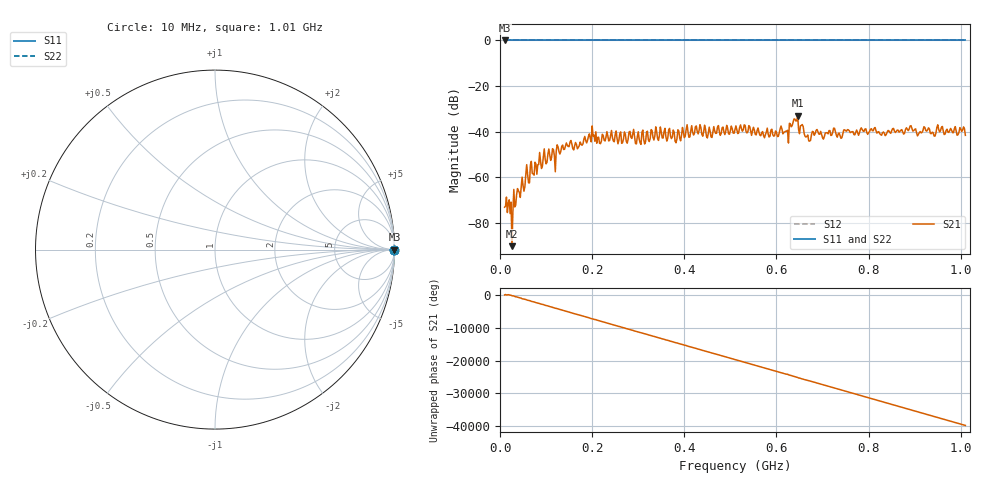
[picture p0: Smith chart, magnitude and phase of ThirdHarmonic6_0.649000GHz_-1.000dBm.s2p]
! 8/15/2025 9:32:01 PM
! C:\ANRITSUVNA\TEMP\TEMP.S2P
! CHANNEL.1
! TR.MEASUREMENT
! RAW.DATA
! RF.CORRECTION.OFF
! AVERAGING.OFF
! IF.BANDWIDTH: 5KHZ
! SWEEPTYPE:  FREQ.SWEEP(Linear)
! Reference Plane Port Info
! PORT:  PORT1  PORT2
! DISTANCE:  0  m  0  m
! TIME:  0  s  0  s
! PHASE.OFFSET:  0  deg.  0  deg.
! LOSS:  0  dB  0  dB
! REF.LOSS:  0  dB  0  dB
! REF.FREQ:  0  Hz  0  Hz
! Power Info
! POWER:  -20  dBm  -20  dBm
! EFF.POWER:  -20  dBm  -20  dBm
! SOURCE.ATTEN:  0  dB  0  dB
! TEST.ATTEN:  0  dB  0  dB
# GHZ S RI R 50.0
! FREQ.GHZ  S11RE  S11IM  S21RE  S21IM  S12RE  S12IM  S22RE  S22IM
!; PortSelection: Port_12
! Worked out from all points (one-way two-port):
!   501 points, 10 MHz to 1.01 GHz, reference 50 ohm
!   highest |S21| = -32.98 dB at 646 MHz (marker M1); lowest = -90.1 dB at 26 MHz (marker M2)
!   lowest |S11| = 0.0 dB at 10 MHz (marker M3)
!   |S11| at or under -10 dB: nowhere
!   |S22| runs from 0.0 to 0.0 dB; largest |S21 - S12| = 1
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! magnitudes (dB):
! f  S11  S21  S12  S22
! 10 MHz  0.0  -73.0  0.0  0.0
! 26 MHz  0.0  -90.1  0.0  0.0
! 58 MHz  0.0  -54.4  0.0  0.0
! 82 MHz  0.0  -54.4  0.0  0.0
! 150 MHz  0.0  -46.5  0.0  0.0
! 178 MHz  0.0  -45.9  0.0  0.0
! 204 MHz  0.0  -41.5  0.0  0.0
! 214 MHz  0.0  -42.3  0.0  0.0
! 344 MHz  0.0  -43.8  0.0  0.0
! 510 MHz  0.0  -39.0  0.0  0.0
! 622 MHz  0.0  -39.8  0.0  0.0
! 642 MHz  0.0  -35.2  0.0  0.0
! 646 MHz  0.0  -33.0  0.0  0.0
! 668 MHz  0.0  -41.4  0.0  0.0
! 678 MHz  0.0  -39.8  0.0  0.0
! 844 MHz  0.0  -39.6  0.0  0.0
! 890 MHz  0.0  -37.5  0.0  0.0
! 908 MHz  0.0  -41.1  0.0  0.0
! 924 MHz  0.0  -39.5  0.0  0.0
! 942 MHz  0.0  -41.8  0.0  0.0
! 954 MHz  0.0  -40.0  0.0  0.0
! 1.01 GHz  0.0  -41.6  0.0  0.0
